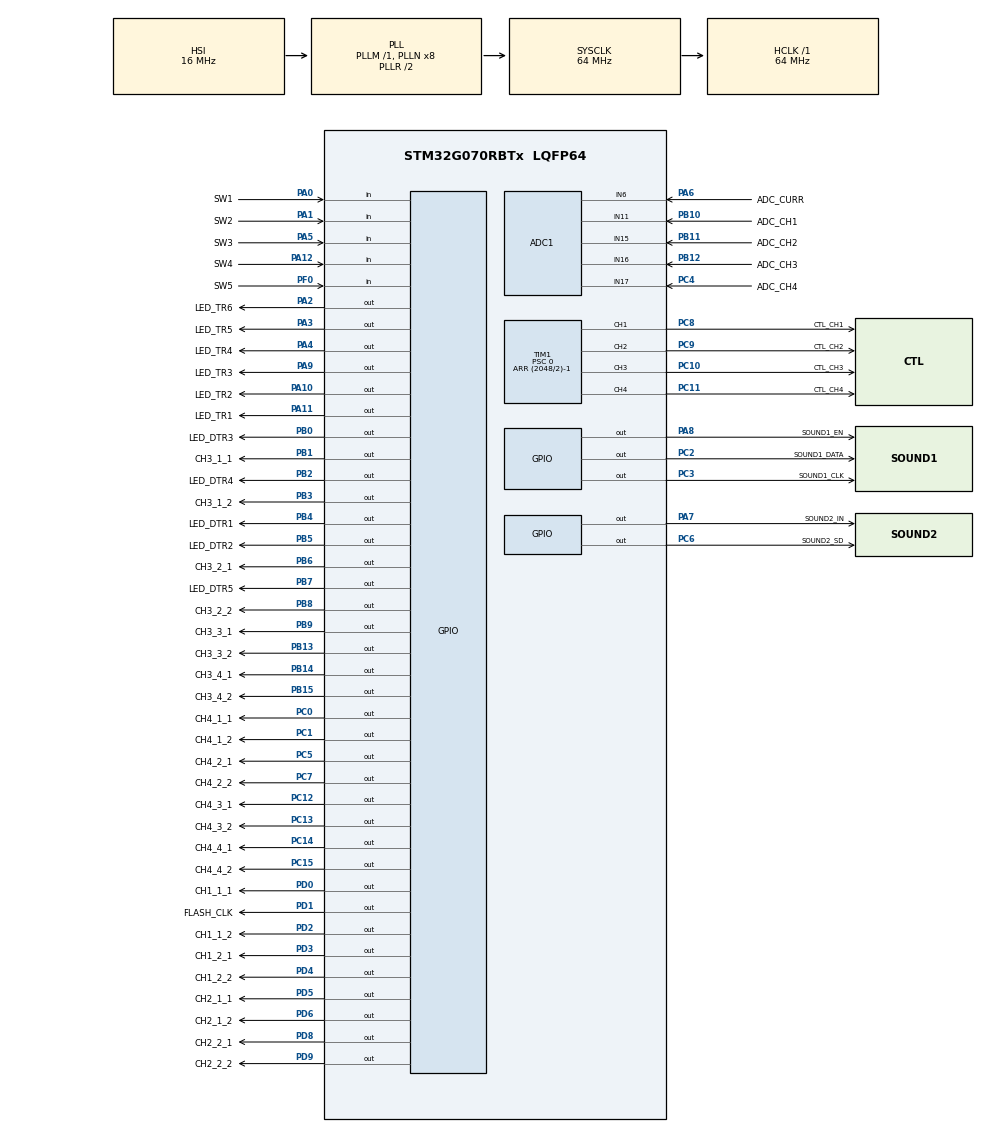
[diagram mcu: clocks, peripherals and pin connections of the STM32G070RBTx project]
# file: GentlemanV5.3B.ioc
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ADC1.ClockPrescaler=ADC_CLOCK_SYNC_PCLK_DIV2
ADC1.ContinuousConvMode=DISABLE
ADC1.DMAContinuousRequests=ENABLE
ADC1.DiscontinuousConvMode=DISABLE
ADC1.EOCSelection=ADC_EOC_SEQ_CONV
ADC1.ExternalTrigConv=ADC_EXTERNALTRIG_T3_TRGO
ADC1.NbrOfConversion=1
ADC1.NbrOfConversionFlag=0
ADC1.SamplingTimeCommon1=ADC_SAMPLETIME_160CYCLES_5
ADC1.ScanConvMode=ADC_SCAN_SEQ_FIXED
ADC1.Sequencer=NOT_FULLY_CONFIGURABLE
ADC1.master=1
Dma.ADC1.0.Direction=DMA_PERIPH_TO_MEMORY
Dma.ADC1.0.EventEnable=DISABLE
Dma.ADC1.0.Instance=DMA1_Channel1
Dma.ADC1.0.MemDataAlignment=DMA_MDATAALIGN_HALFWORD
Dma.ADC1.0.MemInc=DMA_MINC_ENABLE
Dma.ADC1.0.Mode=DMA_CIRCULAR
Dma.ADC1.0.PeriphDataAlignment=DMA_PDATAALIGN_HALFWORD
Dma.ADC1.0.PeriphInc=DMA_PINC_DISABLE
Dma.ADC1.0.Polarity=HAL_DMAMUX_REQ_GEN_RISING
Dma.ADC1.0.Priority=DMA_PRIORITY_LOW
Dma.ADC1.0.RequestNumber=1
Dma.ADC1.0.SignalID=NONE
Dma.ADC1.0.SyncEnable=DISABLE
Dma.ADC1.0.SyncPolarity=HAL_DMAMUX_SYNC_NO_EVENT
Dma.ADC1.0.SyncRequestNumber=1
Dma.ADC1.0.SyncSignalID=NONE
Dma.Request0=ADC1
Mcu.Family=STM32G0
Mcu.Name=STM32G070RBTx
Mcu.Package=LQFP64
NVIC.DMA1_Channel1_IRQn=true\:0\:0\:false\:false\:true\:false\:true
NVIC.TIM3_IRQn=true\:0\:0\:false\:false\:true\:true\:true
NVIC.TIM6_IRQn=true\:0\:0\:false\:false\:true\:true\:true
PA0.GPIO_Label=SW1
PA0.GPIO_PuPd=GPIO_PULLUP
PA0.Signal=GPIO_Input
PA1.GPIO_Label=SW2
PA1.GPIO_PuPd=GPIO_PULLUP
PA1.Signal=GPIO_Input
PA10.GPIO_Label=LED_TR2
PA10.GPIO_ModeDefaultOutputPP=GPIO_MODE_OUTPUT_OD
PA10.GPIO_PuPd=GPIO_PULLUP
PA10.PinState=GPIO_PIN_SET
PA10.Signal=GPIO_Output
PA11\ [PA9].GPIO_Label=LED_TR1
PA11\ [PA9].GPIO_ModeDefaultOutputPP=GPIO_MODE_OUTPUT_OD
PA11\ [PA9].GPIO_PuPd=GPIO_PULLUP
PA11\ [PA9].PinState=GPIO_PIN_SET
PA11\ [PA9].Signal=GPIO_Output
PA12\ [PA10].GPIO_Label=SW4
PA12\ [PA10].GPIO_PuPd=GPIO_PULLUP
PA12\ [PA10].Signal=GPIO_Input
PA13.Mode=Serial_Wire
PA13.Signal=SYS_SWDIO
PA14-BOOT0.Mode=Serial_Wire
PA14-BOOT0.Signal=SYS_SWCLK
PA15.GPIO_Label=UART2
PA15.GPIO_ModeDefaultPP=GPIO_MODE_AF_OD
PA15.GPIO_PuPd=GPIO_PULLUP
PA15.Signal=USART2_RX
PA2.GPIO_Label=LED_TR6
PA2.GPIO_ModeDefaultOutputPP=GPIO_MODE_OUTPUT_OD
PA2.GPIO_PuPd=GPIO_PULLUP
PA2.PinState=GPIO_PIN_SET
PA2.Signal=GPIO_Output
PA3.GPIO_Label=LED_TR5
PA3.GPIO_ModeDefaultOutputPP=GPIO_MODE_OUTPUT_OD
PA3.GPIO_PuPd=GPIO_PULLUP
PA3.PinState=GPIO_PIN_SET
PA3.Signal=GPIO_Output
PA4.GPIO_Label=LED_TR4
PA4.GPIO_ModeDefaultOutputPP=GPIO_MODE_OUTPUT_OD
PA4.GPIO_PuPd=GPIO_PULLUP
PA4.PinState=GPIO_PIN_SET
PA4.Signal=GPIO_Output
PA5.GPIO_Label=SW3
PA5.GPIO_PuPd=GPIO_PULLUP
PA5.Signal=GPIO_Input
PA6.GPIO_Label=ADC_CURR
PA6.Mode=IN6
PA6.Signal=ADC1_IN6
PA7.GPIO_Label=SOUND2_IN
PA7.GPIO_PuPd=GPIO_PULLDOWN
PA7.Signal=GPIO_Output
PA8.GPIO_Label=SOUND1_EN
PA8.GPIO_ModeDefaultOutputPP=GPIO_MODE_OUTPUT_OD
PA8.GPIO_PuPd=GPIO_PULLUP
PA8.GPIO_Speed=GPIO_SPEED_FREQ_LOW
PA8.PinState=GPIO_PIN_SET
PA8.Signal=GPIO_Output
PA9.GPIO_Label=LED_TR3
PA9.GPIO_ModeDefaultOutputPP=GPIO_MODE_OUTPUT_OD
PA9.GPIO_PuPd=GPIO_PULLUP
PA9.PinState=GPIO_PIN_SET
PA9.Signal=GPIO_Output
PB0.GPIO_Label=LED_DTR3
PB0.GPIO_PuPd=GPIO_PULLDOWN
PB0.Signal=GPIO_Output
PB1.GPIO_Label=CH3_1_1
PB1.GPIO_PuPd=GPIO_PULLDOWN
PB1.Signal=GPIO_Output
PB10.GPIO_Label=ADC_CH1
PB10.Mode=IN11
PB10.Signal=ADC1_IN11
PB11.GPIO_Label=ADC_CH2
PB11.Mode=IN15
PB11.Signal=ADC1_IN15
PB12.GPIO_Label=ADC_CH3
PB12.Mode=IN16
PB12.Signal=ADC1_IN16
PB13.GPIO_Label=CH3_3_2
PB13.GPIO_PuPd=GPIO_PULLDOWN
PB13.Signal=GPIO_Output
PB14.GPIO_Label=CH3_4_1
PB14.GPIO_PuPd=GPIO_PULLDOWN
PB14.Signal=GPIO_Output
PB15.GPIO_Label=CH3_4_2
PB15.GPIO_PuPd=GPIO_PULLDOWN
PB15.Signal=GPIO_Output
PB2.GPIO_Label=LED_DTR4
PB2.GPIO_PuPd=GPIO_PULLDOWN
PB2.Signal=GPIO_Output
PB3.GPIO_Label=CH3_1_2
PB3.GPIO_PuPd=GPIO_PULLDOWN
PB3.Signal=GPIO_Output
PB4.GPIO_Label=LED_DTR1
PB4.GPIO_PuPd=GPIO_PULLDOWN
PB4.Signal=GPIO_Output
PB5.GPIO_Label=LED_DTR2
PB5.GPIO_PuPd=GPIO_PULLDOWN
PB5.Signal=GPIO_Output
PB6.GPIO_Label=CH3_2_1
PB6.GPIO_PuPd=GPIO_PULLDOWN
PB6.Signal=GPIO_Output
PB7.GPIO_Label=LED_DTR5
PB7.GPIO_PuPd=GPIO_PULLDOWN
PB7.Signal=GPIO_Output
PB8.GPIO_Label=CH3_2_2
PB8.GPIO_PuPd=GPIO_PULLDOWN
PB8.Signal=GPIO_Output
PB9.GPIO_Label=CH3_3_1
PB9.GPIO_PuPd=GPIO_PULLDOWN
PB9.Signal=GPIO_Output
PC0.GPIO_Label=CH4_1_1
PC0.GPIO_PuPd=GPIO_PULLDOWN
PC0.Signal=GPIO_Output
PC1.GPIO_Label=CH4_1_2
PC1.GPIO_PuPd=GPIO_PULLDOWN
PC1.Signal=GPIO_Output
PC10.GPIO_Label=CTL_CH3
PC10.GPIO_PuPd=GPIO_PULLDOWN
PC10.GPIO_Speed=GPIO_SPEED_FREQ_LOW
PC10.Signal=S_TIM1_CH3
PC11.GPIO_Label=CTL_CH4
PC11.GPIO_PuPd=GPIO_PULLDOWN
PC11.Signal=S_TIM1_CH4
PC12.GPIO_Label=CH4_3_1
PC12.GPIO_PuPd=GPIO_PULLDOWN
PC12.Signal=GPIO_Output
PC13.GPIO_Label=CH4_3_2
PC13.GPIO_PuPd=GPIO_PULLDOWN
PC13.Signal=GPIO_Output
PC14-OSC32_IN\ (PC14).GPIO_Label=CH4_4_1
PC14-OSC32_IN\ (PC14).GPIO_PuPd=GPIO_PULLDOWN
PC14-OSC32_IN\ (PC14).Signal=GPIO_Output
PC15-OSC32_OUT\ (PC15).GPIO_Label=CH4_4_2
PC15-OSC32_OUT\ (PC15).GPIO_PuPd=GPIO_PULLDOWN
PC15-OSC32_OUT\ (PC15).Signal=GPIO_Output
PC2.GPIO_Label=SOUND1_DATA
PC2.GPIO_ModeDefaultOutputPP=GPIO_MODE_OUTPUT_OD
PC2.GPIO_PuPd=GPIO_PULLUP
PC2.GPIO_Speed=GPIO_SPEED_FREQ_LOW
PC2.PinState=GPIO_PIN_RESET
PC2.Signal=GPIO_Output
PC3.GPIO_Label=SOUND1_CLK
PC3.GPIO_ModeDefaultOutputPP=GPIO_MODE_OUTPUT_OD
PC3.GPIO_PuPd=GPIO_PULLUP
PC3.GPIO_Speed=GPIO_SPEED_FREQ_LOW
PC3.PinState=GPIO_PIN_SET
PC3.Signal=GPIO_Output
PC4.GPIO_Label=ADC_CH4
PC4.Mode=IN17
PC4.Signal=ADC1_IN17
PC5.GPIO_Label=CH4_2_1
PC5.GPIO_PuPd=GPIO_PULLDOWN
PC5.Signal=GPIO_Output
PC6.GPIO_Label=SOUND2_SD
PC6.GPIO_PuPd=GPIO_PULLDOWN
PC6.Signal=GPIO_Output
PC7.GPIO_Label=CH4_2_2
PC7.GPIO_PuPd=GPIO_PULLDOWN
PC7.Signal=GPIO_Output
PC8.GPIO_Label=CTL_CH1
PC8.GPIO_PuPd=GPIO_PULLDOWN
PC8.Signal=S_TIM1_CH1
PC9.GPIO_Label=CTL_CH2
PC9.GPIO_PuPd=GPIO_PULLDOWN
PC9.Signal=S_TIM1_CH2
PD0.GPIO_Label=CH1_1_1
PD0.GPIO_PuPd=GPIO_PULLDOWN
PD0.Signal=GPIO_Output
PD1.GPIO_Label=FLASH_CLK
PD1.GPIO_PuPd=GPIO_PULLDOWN
PD1.Signal=GPIO_Output
PD2.GPIO_Label=CH1_1_2
PD2.GPIO_PuPd=GPIO_PULLDOWN
PD2.Signal=GPIO_Output
PD3.GPIO_Label=CH1_2_1
PD3.GPIO_PuPd=GPIO_PULLDOWN
PD3.Signal=GPIO_Output
PD4.GPIO_Label=CH1_2_2
PD4.GPIO_PuPd=GPIO_PULLDOWN
PD4.Signal=GPIO_Output
PD5.GPIO_Label=CH2_1_1
PD5.GPIO_PuPd=GPIO_PULLDOWN
PD5.Signal=GPIO_Output
PD6.GPIO_Label=CH2_1_2
PD6.GPIO_PuPd=GPIO_PULLDOWN
PD6.Signal=GPIO_Output
PD8.GPIO_Label=CH2_2_1
PD8.GPIO_PuPd=GPIO_PULLDOWN
PD8.Signal=GPIO_Output
PD9.GPIO_Label=CH2_2_2
PD9.GPIO_PuPd=GPIO_PULLDOWN
PD9.Signal=GPIO_Output
PF0-OSC_IN\ (PF0).GPIO_Label=SW5
PF0-OSC_IN\ (PF0).GPIO_PuPd=GPIO_PULLUP
PF0-OSC_IN\ (PF0).Signal=GPIO_Input
ProjectManager.HeapSize=0x200
ProjectManager.StackSize=0x400
ProjectManager.TargetToolchain=EWARM V8.32
RCC.ADCFreq_Value=64000000
RCC.AHBFreq_Value=64000000
RCC.CortexFreq_Value=64000000
RCC.EXTERNAL_CLOCK_VALUE=48000
RCC.HCLKFreq_Value=64000000
RCC.HSE_VALUE=8000000
RCC.HSI_VALUE=16000000
RCC.LSE_VALUE=32768
RCC.SYSCLKFreq_VALUE=64000000
RCC.SYSCLKSource=RCC_SYSCLKSOURCE_PLLCLK
RCC.VCOOutputFreq_Value=128000000
SH.S_TIM1_CH1.0=TIM1_CH1,PWM Generation1 CH1
SH.S_TIM1_CH2.0=TIM1_CH2,PWM Generation2 CH2
SH.S_TIM1_CH3.0=TIM1_CH3,PWM Generation3 CH3
SH.S_TIM1_CH4.0=TIM1_CH4,PWM Generation4 CH4
TIM1.AutoReloadPreload=TIM_AUTORELOAD_PRELOAD_ENABLE
TIM1.Channel-PWM\ Generation1\ CH1=TIM_CHANNEL_1
TIM1.Channel-PWM\ Generation2\ CH2=TIM_CHANNEL_2
TIM1.Channel-PWM\ Generation3\ CH3=TIM_CHANNEL_3
TIM1.Channel-PWM\ Generation4\ CH4=TIM_CHANNEL_4
TIM1.CounterMode=TIM_COUNTERMODE_CENTERALIGNED1
TIM1.Period=(2048/2)-1
TIM1.Prescaler=0
TIM3.Period=10-1
TIM3.Prescaler=320-1
TIM3.TIM_MasterOutputTrigger=TIM_TRGO_UPDATE
TIM6.Period=10-1
TIM6.Prescaler=64-1
VP_SYS_VS_DBSignals.Mode=DisableDeadBatterySignals
VP_TIM1_VS_ClockSourceINT.Mode=Internal
VP_TIM3_VS_ClockSourceINT.Mode=Internal
VP_TIM6_VS_ClockSourceINT.Mode=Enable_Timer
board=custom

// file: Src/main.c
/* USER CODE BEGIN Header */
/**
  ******************************************************************************
  * @file           : main.c
  * @brief          : Main program body
  ******************************************************************************
  * @attention
  *
  * <h2><center>&copy; Copyright (c) 2021 STMicroelectronics.
  * All rights reserved.</center></h2>
  *
  * This software component is licensed by ST under BSD 3-Clause license,
  * the "License"; You may not use this file except in compliance with the
  * License. You may obtain a copy of the License at:
  *                        opensource.org/licenses/BSD-3-Clause
  *
  ******************************************************************************
  */
/* USER CODE END Header */

#include "main.h"

/* USER CODE BEGIN Includes */
#include "led_controller.h"
#include "sound_proc.h"
#include "wave_proc.h"
#include "key_proc.h"

/* USER CODE END Includes */

ADC_HandleTypeDef hadc1;
DMA_HandleTypeDef hdma_adc1;

TIM_HandleTypeDef htim1;
TIM_HandleTypeDef htim3;
TIM_HandleTypeDef htim6;

/* USER CODE BEGIN PV */

//Time_Checker value
uint8_t TimChec_50us = 0;			//50usec도달 확인
uint8_t TimChec_100us = 0;			//100usec도달 확인
uint8_t TimChec_100usCnt = 0;		//Tim3반복 횟수(100usec용)
uint8_t TimChec_1ms = 0;			//1msec도달 확인
uint8_t TimChec_1msCnt = 0;			//Tim3반복 횟수(1msec용)
uint8_t TimChec_10ms = 0;			//10msec도달 확인
uint8_t TimChec_10msCnt = 0;		//Tim3반복 횟수(10msec용)
uint8_t TimChec_500ms = 0;			//500msec도달 확인
uint8_t TimChec_500msCnt = 0;		//Tim3반복 횟수(500msec용)
uint8_t TimChec_1s = 0;				//1sec도달 확인
uint8_t TimChec_1sCnt = 0;			//Tim3반복 횟수(1sec용)

//Test
uint8_t tmpBuff[128] = { 0, };

/* USER CODE END PV */

void SystemClock_Config(void);
static void MX_GPIO_Init(void);
static void MX_DMA_Init(void);
static void MX_ADC1_Init(void);
static void MX_TIM1_Init(void);
static void MX_TIM3_Init(void);
static void MX_TIM6_Init(void);

int main(void)
{

  /* MCU Configuration--------------------------------------------------------*/

  /* Reset of all peripherals, Initializes the Flash interface and the Systick. */
  HAL_Init();

  /* Configure the system clock */
  SystemClock_Config();

  /* Initialize all configured peripherals */
  MX_GPIO_Init();
  MX_DMA_Init();
  MX_ADC1_Init();
  MX_TIM1_Init();
  MX_TIM3_Init();
  MX_TIM6_Init();
  /* USER CODE BEGIN 2 */

  // Sound 초기화
  {
	  // SoudPlay를 위한 대기시간
	  HAL_Delay(1000);
	  sound_proc_Init();
  }

  // Wave 초기화
  {
	  wave_proc_Init(&hadc1, &hdma_adc1, &htim1);
  }

  // Tim3 프로세스 시작
  if (HAL_TIM_Base_Start_IT(&htim3) != HAL_OK)
  {
	  Error_Handler();
  }

  /* USER CODE END 2 */

  /* Infinite loop */
  /* USER CODE BEGIN WHILE */
  while (1)
  {
	  if (!TimChec_50us)continue;	// 50us
	  TimChec_50us = 0;

	  {
		  wave_proc_update_main();
	  }

	  if (!TimChec_100us)continue;	// 100us
	  TimChec_100us = 0;

	  // Sound Update
	  {
		  sound_proc_Update();
	  }

	  if (!TimChec_1ms)continue;	// 1ms
	  TimChec_1ms = 0;

	  {
		  wave_proc_update_PatternNode();
	  }

	  if (!TimChec_10ms)continue;	// 10ms
	  TimChec_10ms = 0;

	  // Key Update
	  {
		  key_proc_Update();
	  }

	  // LED Update
	  {
		  led_BlinkColUpdate();
	  }

	  if (!TimChec_500ms)continue;	// 500ms
	  TimChec_500ms = 0;

	  if (!TimChec_1s)continue;	// 1s
	  TimChec_1s = 0;

	  // Optional System Update
	  {
		  wave_proc_update_OptionSys();
	  }

    /* USER CODE END WHILE */

  }
}

void SystemClock_Config(void)
{
  RCC_OscInitTypeDef RCC_OscInitStruct = {0};
  RCC_ClkInitTypeDef RCC_ClkInitStruct = {0};
  RCC_PeriphCLKInitTypeDef PeriphClkInit = {0};

  /** Configure the main internal regulator output voltage
  */
  HAL_PWREx_ControlVoltageScaling(PWR_REGULATOR_VOLTAGE_SCALE1);
  /** Initializes the CPU, AHB and APB busses clocks
  */
  RCC_OscInitStruct.OscillatorType = RCC_OSCILLATORTYPE_HSI;
  RCC_OscInitStruct.HSIState = RCC_HSI_ON;
  RCC_OscInitStruct.HSIDiv = RCC_HSI_DIV1;
  RCC_OscInitStruct.HSICalibrationValue = RCC_HSICALIBRATION_DEFAULT;
  RCC_OscInitStruct.PLL.PLLState = RCC_PLL_ON;
  RCC_OscInitStruct.PLL.PLLSource = RCC_PLLSOURCE_HSI;
  RCC_OscInitStruct.PLL.PLLM = RCC_PLLM_DIV1;
  RCC_OscInitStruct.PLL.PLLN = 8;
  RCC_OscInitStruct.PLL.PLLP = RCC_PLLP_DIV2;
  RCC_OscInitStruct.PLL.PLLR = RCC_PLLR_DIV2;
  if (HAL_RCC_OscConfig(&RCC_OscInitStruct) != HAL_OK)
  {
    Error_Handler();
  }
  /** Initializes the CPU, AHB and APB busses clocks
  */
  RCC_ClkInitStruct.ClockType = RCC_CLOCKTYPE_HCLK|RCC_CLOCKTYPE_SYSCLK
                              |RCC_CLOCKTYPE_PCLK1;
  RCC_ClkInitStruct.SYSCLKSource = RCC_SYSCLKSOURCE_PLLCLK;
  RCC_ClkInitStruct.AHBCLKDivider = RCC_SYSCLK_DIV1;
  RCC_ClkInitStruct.APB1CLKDivider = RCC_HCLK_DIV1;

  if (HAL_RCC_ClockConfig(&RCC_ClkInitStruct, FLASH_LATENCY_2) != HAL_OK)
  {
    Error_Handler();
  }
  /** Initializes the peripherals clocks
  */
  PeriphClkInit.PeriphClockSelection = RCC_PERIPHCLK_ADC;
  PeriphClkInit.AdcClockSelection = RCC_ADCCLKSOURCE_SYSCLK;
  if (HAL_RCCEx_PeriphCLKConfig(&PeriphClkInit) != HAL_OK)
  {
    Error_Handler();
  }
}

static void MX_ADC1_Init(void)
{

  ADC_ChannelConfTypeDef sConfig = {0};
  ADC_AnalogWDGConfTypeDef AnalogWDGConfig = {0};

  /** Configure the global features of the ADC (Clock, Resolution, Data Alignment and number of conversion)
  */
  hadc1.Instance = ADC1;
  hadc1.Init.ClockPrescaler = ADC_CLOCK_SYNC_PCLK_DIV2;
  hadc1.Init.Resolution = ADC_RESOLUTION_12B;
  hadc1.Init.DataAlign = ADC_DATAALIGN_RIGHT;
  hadc1.Init.ScanConvMode = ADC_SCAN_SEQ_FIXED;
  hadc1.Init.EOCSelection = ADC_EOC_SEQ_CONV;
  hadc1.Init.LowPowerAutoWait = DISABLE;
  hadc1.Init.LowPowerAutoPowerOff = DISABLE;
  hadc1.Init.ContinuousConvMode = DISABLE;
  hadc1.Init.NbrOfConversion = 1;
  hadc1.Init.DiscontinuousConvMode = DISABLE;
  hadc1.Init.ExternalTrigConv = ADC_EXTERNALTRIG_T3_TRGO;
  hadc1.Init.ExternalTrigConvEdge = ADC_EXTERNALTRIGCONVEDGE_RISING;
  hadc1.Init.DMAContinuousRequests = ENABLE;
  hadc1.Init.Overrun = ADC_OVR_DATA_PRESERVED;
  hadc1.Init.SamplingTimeCommon1 = ADC_SAMPLETIME_160CYCLES_5;
  hadc1.Init.OversamplingMode = DISABLE;
  hadc1.Init.TriggerFrequencyMode = ADC_TRIGGER_FREQ_HIGH;
  if (HAL_ADC_Init(&hadc1) != HAL_OK)
  {
    Error_Handler();
  }
  /** Configure Regular Channel
  */
  sConfig.Channel = ADC_CHANNEL_6;
  sConfig.Rank = ADC_RANK_CHANNEL_NUMBER;
  if (HAL_ADC_ConfigChannel(&hadc1, &sConfig) != HAL_OK)
  {
    Error_Handler();
  }
  /** Configure Regular Channel
  */
  sConfig.Channel = ADC_CHANNEL_11;
  sConfig.Rank = ADC_RANK_CHANNEL_NUMBER;
  if (HAL_ADC_ConfigChannel(&hadc1, &sConfig) != HAL_OK)
  {
    Error_Handler();
  }
  /** Configure Regular Channel
  */
  sConfig.Channel = ADC_CHANNEL_15;
  sConfig.Rank = ADC_RANK_CHANNEL_NUMBER;
  if (HAL_ADC_ConfigChannel(&hadc1, &sConfig) != HAL_OK)
  {
    Error_Handler();
  }
  /** Configure Regular Channel
  */
  sConfig.Channel = ADC_CHANNEL_16;
  sConfig.Rank = ADC_RANK_CHANNEL_NUMBER;
  if (HAL_ADC_ConfigChannel(&hadc1, &sConfig) != HAL_OK)
  {
    Error_Handler();
  }
  /** Configure Regular Channel
  */
  sConfig.Channel = ADC_CHANNEL_17;
  sConfig.Rank = ADC_RANK_CHANNEL_NUMBER;
  if (HAL_ADC_ConfigChannel(&hadc1, &sConfig) != HAL_OK)
  {
    Error_Handler();
  }
  /** Configure Analog WatchDog 2
  */
  AnalogWDGConfig.WatchdogMode = ADC_ANALOGWATCHDOG_SINGLE_REG;
  if (HAL_ADC_AnalogWDGConfig(&hadc1, &AnalogWDGConfig) != HAL_OK)
  {
    Error_Handler();
  }

}

static void MX_TIM1_Init(void)
{

  TIM_ClockConfigTypeDef sClockSourceConfig = {0};
  TIM_MasterConfigTypeDef sMasterConfig = {0};
  TIM_OC_InitTypeDef sConfigOC = {0};
  TIM_BreakDeadTimeConfigTypeDef sBreakDeadTimeConfig = {0};

  htim1.Instance = TIM1;
  htim1.Init.Prescaler = 0;
  htim1.Init.CounterMode = TIM_COUNTERMODE_CENTERALIGNED1;
  htim1.Init.Period = (2048/2)-1;
  htim1.Init.ClockDivision = TIM_CLOCKDIVISION_DIV1;
  htim1.Init.RepetitionCounter = 0;
  htim1.Init.AutoReloadPreload = TIM_AUTORELOAD_PRELOAD_ENABLE;
  if (HAL_TIM_Base_Init(&htim1) != HAL_OK)
  {
    Error_Handler();
  }
  sClockSourceConfig.ClockSource = TIM_CLOCKSOURCE_INTERNAL;
  if (HAL_TIM_ConfigClockSource(&htim1, &sClockSourceConfig) != HAL_OK)
  {
    Error_Handler();
  }
  if (HAL_TIM_PWM_Init(&htim1) != HAL_OK)
  {
    Error_Handler();
  }
  sMasterConfig.MasterOutputTrigger = TIM_TRGO_RESET;
  sMasterConfig.MasterOutputTrigger2 = TIM_TRGO2_RESET;
  sMasterConfig.MasterSlaveMode = TIM_MASTERSLAVEMODE_DISABLE;
  if (HAL_TIMEx_MasterConfigSynchronization(&htim1, &sMasterConfig) != HAL_OK)
  {
    Error_Handler();
  }
  sConfigOC.OCMode = TIM_OCMODE_PWM1;
  sConfigOC.Pulse = 0;
  sConfigOC.OCPolarity = TIM_OCPOLARITY_HIGH;
  sConfigOC.OCNPolarity = TIM_OCNPOLARITY_HIGH;
  sConfigOC.OCFastMode = TIM_OCFAST_DISABLE;
  sConfigOC.OCIdleState = TIM_OCIDLESTATE_RESET;
  sConfigOC.OCNIdleState = TIM_OCNIDLESTATE_RESET;
  if (HAL_TIM_PWM_ConfigChannel(&htim1, &sConfigOC, TIM_CHANNEL_1) != HAL_OK)
  {
    Error_Handler();
  }
  if (HAL_TIM_PWM_ConfigChannel(&htim1, &sConfigOC, TIM_CHANNEL_2) != HAL_OK)
  {
    Error_Handler();
  }
  if (HAL_TIM_PWM_ConfigChannel(&htim1, &sConfigOC, TIM_CHANNEL_3) != HAL_OK)
  {
    Error_Handler();
  }
  if (HAL_TIM_PWM_ConfigChannel(&htim1, &sConfigOC, TIM_CHANNEL_4) != HAL_OK)
  {
    Error_Handler();
  }
  sBreakDeadTimeConfig.OffStateRunMode = TIM_OSSR_DISABLE;
  sBreakDeadTimeConfig.OffStateIDLEMode = TIM_OSSI_DISABLE;
  sBreakDeadTimeConfig.LockLevel = TIM_LOCKLEVEL_OFF;
  sBreakDeadTimeConfig.DeadTime = 0;
  sBreakDeadTimeConfig.BreakState = TIM_BREAK_DISABLE;
  sBreakDeadTimeConfig.BreakPolarity = TIM_BREAKPOLARITY_HIGH;
  sBreakDeadTimeConfig.BreakFilter = 0;
  sBreakDeadTimeConfig.BreakAFMode = TIM_BREAK_AFMODE_INPUT;
  sBreakDeadTimeConfig.Break2State = TIM_BREAK2_DISABLE;
  sBreakDeadTimeConfig.Break2Polarity = TIM_BREAK2POLARITY_HIGH;
  sBreakDeadTimeConfig.Break2Filter = 0;
  sBreakDeadTimeConfig.Break2AFMode = TIM_BREAK_AFMODE_INPUT;
  sBreakDeadTimeConfig.AutomaticOutput = TIM_AUTOMATICOUTPUT_DISABLE;
  if (HAL_TIMEx_ConfigBreakDeadTime(&htim1, &sBreakDeadTimeConfig) != HAL_OK)
  {
    Error_Handler();
  }
  HAL_TIM_MspPostInit(&htim1);

}

static void MX_TIM3_Init(void)
{

  TIM_ClockConfigTypeDef sClockSourceConfig = {0};
  TIM_MasterConfigTypeDef sMasterConfig = {0};

  htim3.Instance = TIM3;
  htim3.Init.Prescaler = 320-1;
  htim3.Init.CounterMode = TIM_COUNTERMODE_UP;
  htim3.Init.Period = 10-1;
  htim3.Init.ClockDivision = TIM_CLOCKDIVISION_DIV1;
  htim3.Init.AutoReloadPreload = TIM_AUTORELOAD_PRELOAD_DISABLE;
  if (HAL_TIM_Base_Init(&htim3) != HAL_OK)
  {
    Error_Handler();
  }
  sClockSourceConfig.ClockSource = TIM_CLOCKSOURCE_INTERNAL;
  if (HAL_TIM_ConfigClockSource(&htim3, &sClockSourceConfig) != HAL_OK)
  {
    Error_Handler();
  }
  sMasterConfig.MasterOutputTrigger = TIM_TRGO_UPDATE;
  sMasterConfig.MasterSlaveMode = TIM_MASTERSLAVEMODE_DISABLE;
  if (HAL_TIMEx_MasterConfigSynchronization(&htim3, &sMasterConfig) != HAL_OK)
  {
    Error_Handler();
  }

}

static void MX_TIM6_Init(void)
{

  TIM_MasterConfigTypeDef sMasterConfig = {0};

  htim6.Instance = TIM6;
  htim6.Init.Prescaler = 64-1;
  htim6.Init.CounterMode = TIM_COUNTERMODE_UP;
  htim6.Init.Period = 10-1;
  htim6.Init.AutoReloadPreload = TIM_AUTORELOAD_PRELOAD_DISABLE;
  if (HAL_TIM_Base_Init(&htim6) != HAL_OK)
  {
    Error_Handler();
  }
  sMasterConfig.MasterOutputTrigger = TIM_TRGO_RESET;
  sMasterConfig.MasterSlaveMode = TIM_MASTERSLAVEMODE_DISABLE;
  if (HAL_TIMEx_MasterConfigSynchronization(&htim6, &sMasterConfig) != HAL_OK)
  {
    Error_Handler();
  }

}

static void MX_DMA_Init(void)
{

  /* DMA controller clock enable */
  __HAL_RCC_DMA1_CLK_ENABLE();

  /* DMA interrupt init */
  /* DMA1_Channel1_IRQn interrupt configuration */
  HAL_NVIC_SetPriority(DMA1_Channel1_IRQn, 0, 0);
  HAL_NVIC_EnableIRQ(DMA1_Channel1_IRQn);

}

static void MX_GPIO_Init(void)
{
  GPIO_InitTypeDef GPIO_InitStruct = {0};

  /* GPIO Ports Clock Enable */
  __HAL_RCC_GPIOC_CLK_ENABLE();
  __HAL_RCC_GPIOF_CLK_ENABLE();
  __HAL_RCC_GPIOA_CLK_ENABLE();
  __HAL_RCC_GPIOB_CLK_ENABLE();
  __HAL_RCC_GPIOD_CLK_ENABLE();

  /*Configure GPIO pin Output Level */
  HAL_GPIO_WritePin(GPIOC, CH4_3_1_Pin|CH4_3_2_Pin|CH4_4_1_Pin|CH4_4_2_Pin
                          |CH4_1_1_Pin|CH4_1_2_Pin|SOUND1_DATA_Pin|CH4_2_1_Pin
                          |SOUND2_SD_Pin|CH4_2_2_Pin, GPIO_PIN_RESET);

  /*Configure GPIO pin Output Level */
  HAL_GPIO_WritePin(SOUND1_CLK_GPIO_Port, SOUND1_CLK_Pin, GPIO_PIN_SET);

  /*Configure GPIO pin Output Level */
  HAL_GPIO_WritePin(GPIOA, LED_TR6_Pin|LED_TR5_Pin|LED_TR4_Pin|SOUND1_EN_Pin
                          |LED_TR3_Pin|LED_TR2_Pin|LED_TR1_Pin, GPIO_PIN_SET);

  /*Configure GPIO pin Output Level */
  HAL_GPIO_WritePin(SOUND2_IN_GPIO_Port, SOUND2_IN_Pin, GPIO_PIN_RESET);

  /*Configure GPIO pin Output Level */
  HAL_GPIO_WritePin(GPIOB, LED_DTR3_Pin|CH3_1_1_Pin|LED_DTR4_Pin|CH3_3_2_Pin
                          |CH3_4_1_Pin|CH3_4_2_Pin|CH3_1_2_Pin|LED_DTR1_Pin
                          |LED_DTR2_Pin|CH3_2_1_Pin|LED_DTR5_Pin|CH3_2_2_Pin
                          |CH3_3_1_Pin, GPIO_PIN_RESET);

  /*Configure GPIO pin Output Level */
  HAL_GPIO_WritePin(GPIOD, CH2_2_1_Pin|CH2_2_2_Pin|CH1_1_1_Pin|FLASH_CLK_Pin
                          |CH1_1_2_Pin|CH1_2_1_Pin|CH1_2_2_Pin|CH2_1_1_Pin
                          |CH2_1_2_Pin, GPIO_PIN_RESET);

  /*Configure GPIO pins : CH4_3_1_Pin CH4_3_2_Pin CH4_4_1_Pin CH4_4_2_Pin
                           CH4_1_1_Pin CH4_1_2_Pin CH4_2_1_Pin SOUND2_SD_Pin
                           CH4_2_2_Pin */
  GPIO_InitStruct.Pin = CH4_3_1_Pin|CH4_3_2_Pin|CH4_4_1_Pin|CH4_4_2_Pin
                          |CH4_1_1_Pin|CH4_1_2_Pin|CH4_2_1_Pin|SOUND2_SD_Pin
                          |CH4_2_2_Pin;
  GPIO_InitStruct.Mode = GPIO_MODE_OUTPUT_PP;
  GPIO_InitStruct.Pull = GPIO_PULLDOWN;
  GPIO_InitStruct.Speed = GPIO_SPEED_FREQ_LOW;
  HAL_GPIO_Init(GPIOC, &GPIO_InitStruct);

  /*Configure GPIO pin : SW5_Pin */
  GPIO_InitStruct.Pin = SW5_Pin;
  GPIO_InitStruct.Mode = GPIO_MODE_INPUT;
  GPIO_InitStruct.Pull = GPIO_PULLUP;
  HAL_GPIO_Init(SW5_GPIO_Port, &GPIO_InitStruct);

  /*Configure GPIO pins : SOUND1_DATA_Pin SOUND1_CLK_Pin */
  GPIO_InitStruct.Pin = SOUND1_DATA_Pin|SOUND1_CLK_Pin;
  GPIO_InitStruct.Mode = GPIO_MODE_OUTPUT_OD;
  GPIO_InitStruct.Pull = GPIO_PULLUP;
  GPIO_InitStruct.Speed = GPIO_SPEED_FREQ_LOW;
  HAL_GPIO_Init(GPIOC, &GPIO_InitStruct);

  /*Configure GPIO pins : SW1_Pin SW2_Pin SW3_Pin SW4_Pin */
  GPIO_InitStruct.Pin = SW1_Pin|SW2_Pin|SW3_Pin|SW4_Pin;
  GPIO_InitStruct.Mode = GPIO_MODE_INPUT;
  GPIO_InitStruct.Pull = GPIO_PULLUP;
  HAL_GPIO_Init(GPIOA, &GPIO_InitStruct);

  /*Configure GPIO pins : LED_TR6_Pin LED_TR5_Pin LED_TR4_Pin SOUND1_EN_Pin
                           LED_TR3_Pin LED_TR2_Pin LED_TR1_Pin */
  GPIO_InitStruct.Pin = LED_TR6_Pin|LED_TR5_Pin|LED_TR4_Pin|SOUND1_EN_Pin
                          |LED_TR3_Pin|LED_TR2_Pin|LED_TR1_Pin;
  GPIO_InitStruct.Mode = GPIO_MODE_OUTPUT_OD;
  GPIO_InitStruct.Pull = GPIO_PULLUP;
  GPIO_InitStruct.Speed = GPIO_SPEED_FREQ_LOW;
  HAL_GPIO_Init(GPIOA, &GPIO_InitStruct);

  /*Configure GPIO pin : SOUND2_IN_Pin */
  GPIO_InitStruct.Pin = SOUND2_IN_Pin;
  GPIO_InitStruct.Mode = GPIO_MODE_OUTPUT_PP;
  GPIO_InitStruct.Pull = GPIO_PULLDOWN;
  GPIO_InitStruct.Speed = GPIO_SPEED_FREQ_LOW;
  HAL_GPIO_Init(SOUND2_IN_GPIO_Port, &GPIO_InitStruct);

  /*Configure GPIO pins : LED_DTR3_Pin CH3_1_1_Pin LED_DTR4_Pin CH3_3_2_Pin
                           CH3_4_1_Pin CH3_4_2_Pin CH3_1_2_Pin LED_DTR1_Pin
                           LED_DTR2_Pin CH3_2_1_Pin LED_DTR5_Pin CH3_2_2_Pin
                           CH3_3_1_Pin */
  GPIO_InitStruct.Pin = LED_DTR3_Pin|CH3_1_1_Pin|LED_DTR4_Pin|CH3_3_2_Pin
                          |CH3_4_1_Pin|CH3_4_2_Pin|CH3_1_2_Pin|LED_DTR1_Pin
                          |LED_DTR2_Pin|CH3_2_1_Pin|LED_DTR5_Pin|CH3_2_2_Pin
                          |CH3_3_1_Pin;
  GPIO_InitStruct.Mode = GPIO_MODE_OUTPUT_PP;
  GPIO_InitStruct.Pull = GPIO_PULLDOWN;
  GPIO_InitStruct.Speed = GPIO_SPEED_FREQ_LOW;
  HAL_GPIO_Init(GPIOB, &GPIO_InitStruct);

  /*Configure GPIO pins : CH2_2_1_Pin CH2_2_2_Pin CH1_1_1_Pin FLASH_CLK_Pin
                           CH1_1_2_Pin CH1_2_1_Pin CH1_2_2_Pin CH2_1_1_Pin
                           CH2_1_2_Pin */
  GPIO_InitStruct.Pin = CH2_2_1_Pin|CH2_2_2_Pin|CH1_1_1_Pin|FLASH_CLK_Pin
                          |CH1_1_2_Pin|CH1_2_1_Pin|CH1_2_2_Pin|CH2_1_1_Pin
                          |CH2_1_2_Pin;
  GPIO_InitStruct.Mode = GPIO_MODE_OUTPUT_PP;
  GPIO_InitStruct.Pull = GPIO_PULLDOWN;
  GPIO_InitStruct.Speed = GPIO_SPEED_FREQ_LOW;
  HAL_GPIO_Init(GPIOD, &GPIO_InitStruct);

  /*Configure GPIO pin : UART2_Pin */
  GPIO_InitStruct.Pin = UART2_Pin;
  GPIO_InitStruct.Mode = GPIO_MODE_AF_OD;
  GPIO_InitStruct.Pull = GPIO_PULLUP;
  GPIO_InitStruct.Speed = GPIO_SPEED_FREQ_LOW;
  GPIO_InitStruct.Alternate = GPIO_AF1_USART2;
  HAL_GPIO_Init(UART2_GPIO_Port, &GPIO_InitStruct);

}

/* USER CODE BEGIN 4 */
void TimeChec_Update(void)
{
	//Main()의 While에 사용될 타이머를 담당한다.
	//Tim3를 이용해 50usec주기로 호출된다.

	//50usec 업데이트
	//if (TimChec_50us == 0xFF) { TimChec_50us == 0x00; }	//예외처리 생략
	++TimChec_50us;

	//100usec 업데이트
	++TimChec_100usCnt;
	if (TimChec_100usCnt > 1)	// 100usec / 50usec - 1
	{
		TimChec_100usCnt = 0;
		//if (TimChec_100usCnt == 0xFF) { TimChec_100usCnt == 0x00; }	//예외처리 생략
		++TimChec_100us;

		//1msec 업데이트
		++TimChec_1msCnt;
		if (TimChec_1msCnt > 9)	// 1msec / 100usec - 1
		{
			TimChec_1msCnt = 0;
			//if (TimChec_1ms == 0xFF) { TimChec_1ms == 0x00; }	//예외처리 생략
			++TimChec_1ms;

			//10msec 업데이트
			++TimChec_10msCnt;
			if (TimChec_10msCnt > 9)	// 10msec / 1msec - 1
			{
				TimChec_10msCnt = 0;
				//if (TimChec_10ms == 0xFF) { TimChec_10ms == 0x00; }	//예외처리 생략
				++TimChec_10ms;

				//500msec 업데이트
				++TimChec_500msCnt;
				if (TimChec_500msCnt > 49)	// 500msec / 10msec - 1
				{
					TimChec_500msCnt = 0;
					//if (TimChec_500ms == 0xFF) { TimChec_500ms == 0x00; }	//예외처리 생략
					++TimChec_500ms;

					++TimChec_1sCnt;
					if (TimChec_1sCnt > 1)	// 1sec / 500msec - 1
					{
						TimChec_1sCnt = 0;
						//if (TimChec_1s == 0xFF) { TimChec_1s == 0x00; }	//예외처리 생략
						++TimChec_1s;
					}
				}
			}
		}
	}

}

/* USER CODE END 4 */

void Error_Handler(void)
{
}

/************************ (C) COPYRIGHT STMicroelectronics *****END OF FILE****/
